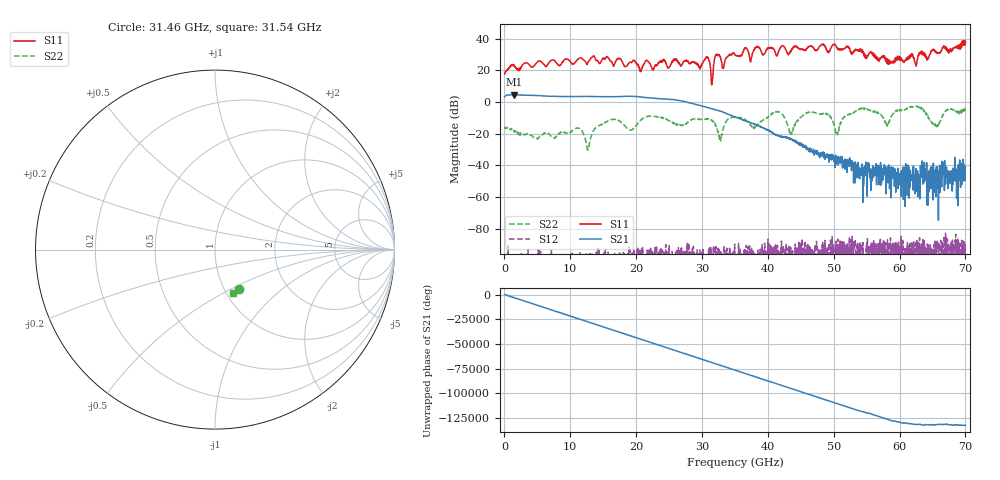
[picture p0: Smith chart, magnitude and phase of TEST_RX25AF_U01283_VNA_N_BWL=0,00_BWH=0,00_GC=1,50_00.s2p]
! 1/10/2022 1:05:13 PM, file used: 20210504_TX1550_0dBm_deembed_OFF.chx
! Z:\PRODUCTIONTESTRESULTS\RXANDRXM\VNA TEMP\VNA_TEMP_1_1570334641.S2P
! CHANNEL.1
! TR.MEASUREMENT
! CORRECTED.DATA
# GHZ S DB R 50.0
! FREQ.GHZ  S11DB  S11A  S21DB  S21A  S12DB  S12A  S22DB  S22A
!; PortSelection: Port_12
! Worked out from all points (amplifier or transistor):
!   2000 points, 35 MHz to 70 GHz, reference 50 ohm
!   highest |S21| = 4.7 dB at 1.47 GHz (marker M1)
!   |S21| within 3 dB of that: start of sweep to 24.95 GHz (the widest 1 of 2)
!   unconditionally stable (mu >= 1): nowhere
!   at 11.69 GHz: K = -30588014.22, MSG = 53.7 dB, |S12| = -103.8 dB
!   at 35.03 GHz: K = -311738363.12, MSG = 49.4 dB, |S12| = -108.3 dB
!   at 70 GHz: K = -15982136447.79, MSG = 27.8 dB, |S12| = -96.8 dB
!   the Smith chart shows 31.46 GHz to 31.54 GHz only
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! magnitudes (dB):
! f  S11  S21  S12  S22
! 35 MHz  17.7  3.2  -105.3  -16.5
! 1.47 GHz  23.1  4.7  -101.3  -18.7
! 11.72 GHz  27.6  3.4  -98.5  -17.9
! 12.71 GHz  25.2  3.5  -110.0  -30.5
! 15.96 GHz  26.9  3.3  -108.2  -11.5
! 19.18 GHz  25.1  3.5  -107.2  -17.9
! 23.38 GHz  24.6  2.1  -95.6  -9.6
! 30.7 GHz  28.1  -3.4  -100.4  -10.6
! 31.5 GHz  11.0  -4.3  -98.4  -11.9
! 32.73 GHz  28.5  -5.8  -99.2  -24.6
! 35.03 GHz  29.5  -9.6  -108.3  -9.6
! 37.91 GHz  32.9  -13.9  -99.6  -16.5
! 41.58 GHz  31.1  -21.2  -93.3  -6.2
! 43.47 GHz  32.2  -23.9  -92.6  -20.6
! 46.69 GHz  35.3  -30.8  -93.2  -6.4
! 49.21 GHz  31.2  -35.8  -102.0  -7.8
! 50.47 GHz  34.5  -36.2  -97.1  -20.5
! 54.18 GHz  33.3  -42.4  -94.2  -3.8
! 58.34 GHz  26.6  -39.8  -89.2  -12.8
! 61.7 GHz  29.0  -49.8  -92.4  -2.9
! 65.52 GHz  31.5  -48.4  -100.4  -15.3
! 70 GHz  38.3  -41.1  -96.8  -4.1
